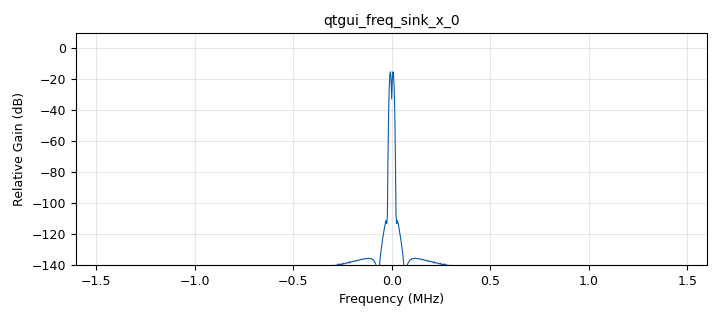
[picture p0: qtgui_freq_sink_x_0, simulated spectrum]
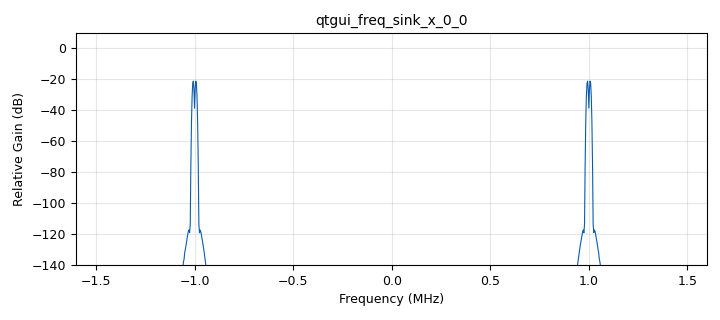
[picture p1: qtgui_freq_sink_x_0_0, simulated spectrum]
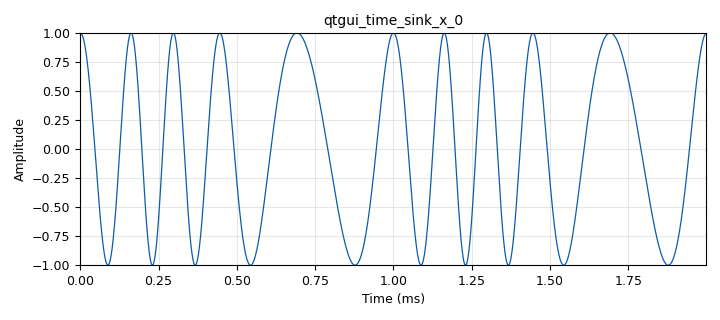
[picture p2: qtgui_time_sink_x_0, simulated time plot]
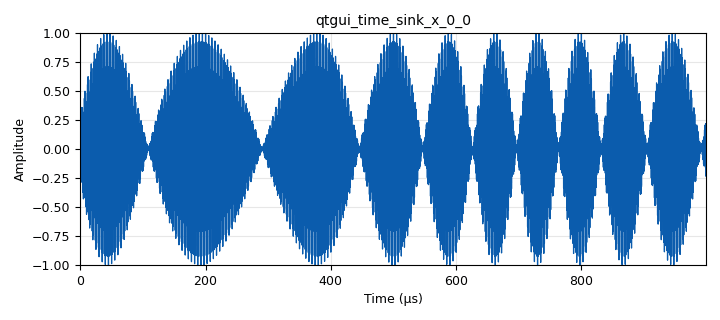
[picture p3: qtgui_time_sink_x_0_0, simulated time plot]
options:
  parameters:
    author: luso
    generate_options: qt_gui
    id: modfm
    output_language: python
    title: Not titled yet
  states: {}

blocks:
- name: amplitude
  id: variable_qtgui_range
  parameters:
    start: '0.1'
    step: '.1'
    stop: '1'
    value: '0.5'
  states: {}
- name: f_c
  id: variable
  parameters:
    value: '1000000'
  states: {}
- name: freq
  id: variable_qtgui_range
  parameters:
    start: '1000'
    step: '1000'
    stop: '100000'
    value: '1000'
  states: {}
- name: samp_rate
  id: variable
  parameters:
    value: '3200000'
  states: {}
- name: analog_sig_source_x_0
  id: analog_sig_source_x
  parameters:
    amp: amplitude
    freq: freq
    offset: '0'
    phase: '0'
    samp_rate: samp_rate
    type: float
    waveform: analog.GR_SIN_WAVE
  states: {}
- name: analog_sig_source_x_1
  id: analog_sig_source_x
  parameters:
    amp: '1'
    freq: f_c
    offset: '0'
    phase: '0'
    samp_rate: samp_rate
    type: float
    waveform: analog.GR_COS_WAVE
  states: {}
- name: blocks_add_const_vxx_0
  id: blocks_add_const_vxx
  parameters:
    const: '1'
    type: float
  states: {}
- name: blocks_multiply_xx_0
  id: blocks_multiply_xx
  parameters:
    type: float
  states: {}
- name: blocks_throttle_0
  id: blocks_throttle
  parameters:
    samples_per_second: samp_rate
    type: float
  states: {}
- name: blocks_vco_f_0
  id: blocks_vco_f
  parameters:
    amplitude: '1'
    samp_rate: samp_rate
    sensitivity: 2*c.pi*5*freq
  states: {}
- name: c
  id: epy_module
  parameters:
    source_code: "# this module will be imported in the into your flowgraph\r\n\r\nimport numpy as np\r\n\r\npi = np.pi\r\n"
  states: {}
- name: qtgui_freq_sink_x_0
  id: qtgui_freq_sink_x
  parameters:
    bw: samp_rate
    ctrlpanel: 'True'
    fc: '0'
    fftsize: '1024'
    gui_hint: tab@0
    type: float
  states: {}
- name: qtgui_freq_sink_x_0_0
  id: qtgui_freq_sink_x
  parameters:
    bw: samp_rate
    ctrlpanel: 'True'
    fc: '0'
    fftsize: '1024'
    gui_hint: tab@1
    type: float
  states: {}
- name: qtgui_time_sink_x_0
  id: qtgui_time_sink_x
  parameters:
    ctrlpanel: 'True'
    gui_hint: tab@0
    size: round(2*samp_rate/freq)
    srate: samp_rate
    type: float
  states: {}
- name: qtgui_time_sink_x_0_0
  id: qtgui_time_sink_x
  parameters:
    ctrlpanel: 'True'
    gui_hint: tab@1
    size: round(samp_rate/freq)
    srate: samp_rate
    type: float
  states: {}
- name: tab
  id: qtgui_tab_widget
  parameters:
    label0: VCO
    label1: FM
    num_tabs: '2'
  states: {}
- name: virtual_sink_0
  id: virtual_sink
  parameters:
    stream_id: VCO
  states: {}
- name: virtual_source_0
  id: virtual_source
  parameters:
    stream_id: VCO
  states: {}

connections:
- [analog_sig_source_x_0, '0', blocks_add_const_vxx_0, '0']
- [analog_sig_source_x_1, '0', blocks_multiply_xx_0, '1']
- [blocks_add_const_vxx_0, '0', blocks_vco_f_0, '0']
- [blocks_multiply_xx_0, '0', qtgui_freq_sink_x_0_0, '0']
- [blocks_multiply_xx_0, '0', qtgui_time_sink_x_0_0, '0']
- [blocks_throttle_0, '0', qtgui_freq_sink_x_0, '0']
- [blocks_throttle_0, '0', qtgui_time_sink_x_0, '0']
- [blocks_throttle_0, '0', virtual_sink_0, '0']
- [blocks_vco_f_0, '0', blocks_throttle_0, '0']
- [virtual_source_0, '0', blocks_multiply_xx_0, '0']

metadata:
  file_format: 1
  grc_version: 3.10.10.0
